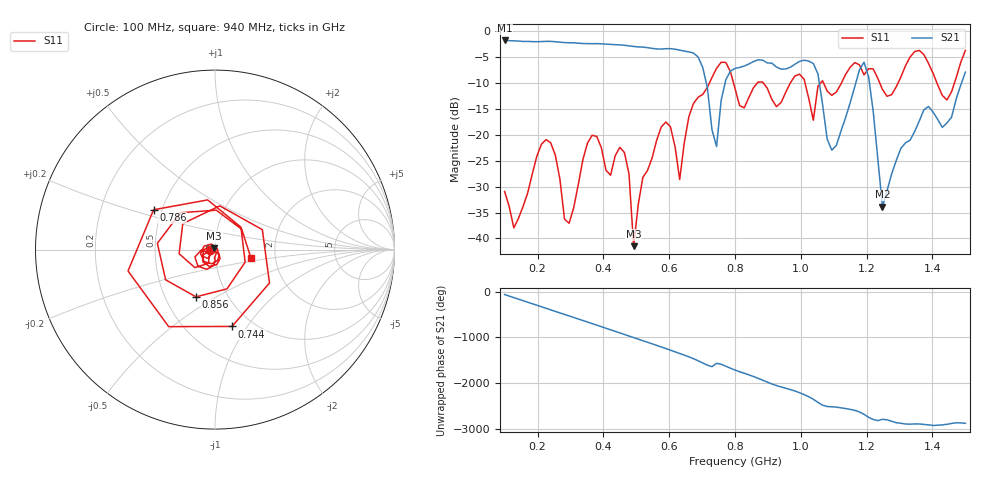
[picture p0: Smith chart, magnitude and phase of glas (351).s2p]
! NanoVNA-App
! Date: 2025-09-25 15:58:12
! Start: 100MHz Stop: 1,5GHz Points: 101
! S-Parameter data: F S11 S21 S12 S22
# Hz S RI R 50
!  Frequency  S11_Real  S11_Imag  S21_Real  S21_Imag  S12_Real  S12_Imag  S22_Real  S22_Imag
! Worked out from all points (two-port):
!   101 points, 100 MHz to 1.5 GHz, reference 50 ohm
!   highest |S21| = -1.80 dB at 100 MHz (marker M1); lowest = -33.9 dB at 1.248 GHz (marker M2)
!   |S21| within 3 dB of the highest: start of sweep to 684.4 MHz
!   lowest |S11| = -41.5 dB at 492 MHz (marker M3), VSWR 1.02, Z = 49.5 + j0.663 ohm
!   |S11| at or under -10 dB: start of sweep to 722.4 MHz; 795.5 MHz to 867.8 MHz (72.38 MHz wide, 8.7 % of centre); 886.2 MHz to 968 MHz (81.81 MHz wide, 8.82 % of centre) (the widest 3 of 7)
!   S12 and S22 are empty: the file has one direction only
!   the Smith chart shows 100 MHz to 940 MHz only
!   S11 on the Smith chart (normalised r, x): 100 MHz: 0.95, -0.01; 744 MHz: 0.81, -0.85; 786 MHz: 0.45, +0.24; 856 MHz: 0.71, -0.41; 940 MHz: 1.49, -0.14
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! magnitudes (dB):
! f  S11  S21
! 100 MHz  -30.9  -1.8
! 128 MHz  -38.0  -1.9
! 226 MHz  -20.9  -2.0
! 296 MHz  -37.1  -2.2
! 338 MHz  -24.7  -2.4
! 464 MHz  -23.4  -2.7
! 492 MHz  -41.5  -3.0
! 576 MHz  -18.5  -3.5
! 632 MHz  -28.6  -3.7
! 702 MHz  -12.2  -7.0
! 744 MHz  -7.2  -22.3
! 786 MHz  -7.8  -7.7
! 800 MHz  -11.1  -7.2
! 856 MHz  -10.9  -5.9
! 940 MHz  -13.8  -7.3
! 1.038 GHz  -17.2  -6.3
! 1.094 GHz  -12.4  -23.0
! 1.192 GHz  -8.4  -6.0
! 1.248 GHz  -11.3  -33.9
! 1.276 GHz  -12.3  -27.5
! 1.444 GHz  -13.3  -17.7
! 1.5 GHz  -3.7  -7.9
